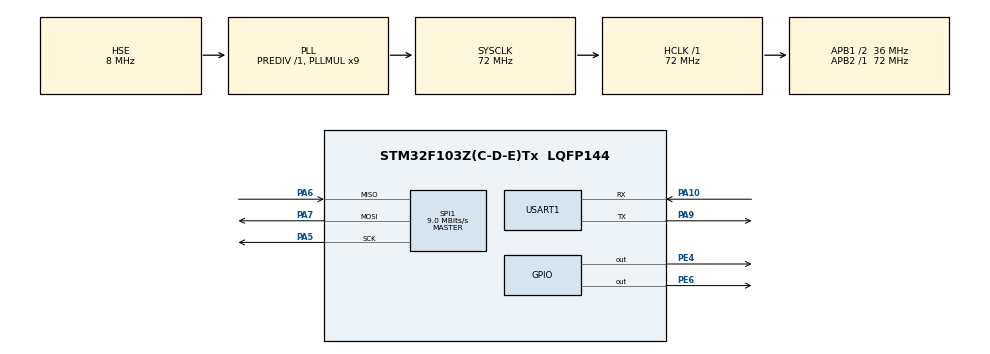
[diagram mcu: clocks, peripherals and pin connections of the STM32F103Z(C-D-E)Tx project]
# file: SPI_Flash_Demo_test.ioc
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Mcu.Family=STM32F1
Mcu.Name=STM32F103Z(C-D-E)Tx
Mcu.Package=LQFP144
NVIC.PriorityGroup=NVIC_PRIORITYGROUP_4
OSC_IN.Mode=HSE-External-Oscillator
OSC_IN.Signal=RCC_OSC_IN
OSC_OUT.Mode=HSE-External-Oscillator
OSC_OUT.Signal=RCC_OSC_OUT
PA10.Mode=Asynchronous
PA10.Signal=USART1_RX
PA13.Mode=Serial_Wire
PA13.Signal=SYS_JTMS-SWDIO
PA14.Mode=Serial_Wire
PA14.Signal=SYS_JTCK-SWCLK
PA5.Mode=Full_Duplex_Master
PA5.Signal=SPI1_SCK
PA6.Mode=Full_Duplex_Master
PA6.Signal=SPI1_MISO
PA7.Mode=Full_Duplex_Master
PA7.Signal=SPI1_MOSI
PA9.Mode=Asynchronous
PA9.Signal=USART1_TX
PE4.GPIO_ModeDefaultOutputPP=GPIO_MODE_OUTPUT_PP
PE4.PinState=GPIO_PIN_SET
PE4.Signal=GPIO_Output
PE6.PinState=GPIO_PIN_SET
PE6.Signal=GPIO_Output
ProjectManager.HeapSize=0x200
ProjectManager.StackSize=0x400
ProjectManager.TargetToolchain=MDK-ARM V5.32
RCC.AHBFreq_Value=72000000
RCC.APB1CLKDivider=RCC_HCLK_DIV2
RCC.APB1Freq_Value=36000000
RCC.APB1TimFreq_Value=72000000
RCC.APB2Freq_Value=72000000
RCC.APB2TimFreq_Value=72000000
RCC.HCLKFreq_Value=72000000
RCC.PLLMUL=RCC_PLL_MUL9
RCC.PLLSourceVirtual=RCC_PLLSOURCE_HSE
RCC.SYSCLKFreq_VALUE=72000000
RCC.SYSCLKSource=RCC_SYSCLKSOURCE_PLLCLK
RCC.USBFreq_Value=72000000
SPI1.BaudRatePrescaler=SPI_BAUDRATEPRESCALER_8
SPI1.CLKPhase=SPI_PHASE_1EDGE
SPI1.CalculateBaudRate=9.0 MBits/s
SPI1.DataSize=SPI_DATASIZE_8BIT
SPI1.Direction=SPI_DIRECTION_2LINES
SPI1.FirstBit=SPI_FIRSTBIT_MSB
SPI1.Mode=SPI_MODE_MASTER
SPI1.VirtualType=VM_MASTER
USART1.Parity=PARITY_ODD
USART1.VirtualMode=VM_ASYNC
USART1.WordLength=WORDLENGTH_9B
board=custom

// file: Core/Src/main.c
/* USER CODE BEGIN Header */
/**
 ******************************************************************************
 * @file           : main.c
 * @brief          : Main program body
 ******************************************************************************
 * @attention
 *
 * Copyright (c) 2026 STMicroelectronics.
 * All rights reserved.
 *
 * This software is licensed under terms that can be found in the LICENSE file
 * in the root directory of this software component.
 * If no LICENSE file comes with this software, it is provided AS-IS.
 *
 ******************************************************************************
 */
/* USER CODE END Header */
#include "main.h"

/* USER CODE BEGIN Includes */
#include "BSP_Usart_Redir.h"
/* USER CODE END Includes */

SPI_HandleTypeDef hspi1;

UART_HandleTypeDef huart1;

void SystemClock_Config(void);
static void MX_GPIO_Init(void);
static void MX_SPI1_Init(void);
static void MX_USART1_UART_Init(void);
/* USER CODE BEGIN PFP */
void W25Qxx_CS_Enable(void);
void W25Qxx_CS_Disable(void);
uint32_t W25Qxx_ReadID(void);
/* USER CODE END PFP */

int main(void)
{

  /* MCU Configuration--------------------------------------------------------*/

  /* Reset of all peripherals, Initializes the Flash interface and the Systick. */
  HAL_Init();

  /* Configure the system clock */
  SystemClock_Config();

  /* Initialize all configured peripherals */
  MX_GPIO_Init();
  MX_SPI1_Init();
  MX_USART1_UART_Init();
  /* USER CODE BEGIN 2 */
  BSP_Usart_Init(&huart1);

  uint32_t id = W25Qxx_ReadID();
  printf("ID: 0x%x\n", id);
  /* USER CODE END 2 */

  /* Infinite loop */
  while (1)
  {

  }
}

void SystemClock_Config(void)
{
  RCC_OscInitTypeDef RCC_OscInitStruct = {0};
  RCC_ClkInitTypeDef RCC_ClkInitStruct = {0};

  /** Initializes the RCC Oscillators according to the specified parameters
  * in the RCC_OscInitTypeDef structure.
  */
  RCC_OscInitStruct.OscillatorType = RCC_OSCILLATORTYPE_HSE;
  RCC_OscInitStruct.HSEState = RCC_HSE_ON;
  RCC_OscInitStruct.HSEPredivValue = RCC_HSE_PREDIV_DIV1;
  RCC_OscInitStruct.HSIState = RCC_HSI_ON;
  RCC_OscInitStruct.PLL.PLLState = RCC_PLL_ON;
  RCC_OscInitStruct.PLL.PLLSource = RCC_PLLSOURCE_HSE;
  RCC_OscInitStruct.PLL.PLLMUL = RCC_PLL_MUL9;
  if (HAL_RCC_OscConfig(&RCC_OscInitStruct) != HAL_OK)
  {
    Error_Handler();
  }

  /** Initializes the CPU, AHB and APB buses clocks
  */
  RCC_ClkInitStruct.ClockType = RCC_CLOCKTYPE_HCLK|RCC_CLOCKTYPE_SYSCLK
                              |RCC_CLOCKTYPE_PCLK1|RCC_CLOCKTYPE_PCLK2;
  RCC_ClkInitStruct.SYSCLKSource = RCC_SYSCLKSOURCE_PLLCLK;
  RCC_ClkInitStruct.AHBCLKDivider = RCC_SYSCLK_DIV1;
  RCC_ClkInitStruct.APB1CLKDivider = RCC_HCLK_DIV2;
  RCC_ClkInitStruct.APB2CLKDivider = RCC_HCLK_DIV1;

  if (HAL_RCC_ClockConfig(&RCC_ClkInitStruct, FLASH_LATENCY_2) != HAL_OK)
  {
    Error_Handler();
  }
}

static void MX_SPI1_Init(void)
{

  /* SPI1 parameter configuration*/
  hspi1.Instance = SPI1;
  hspi1.Init.Mode = SPI_MODE_MASTER;
  hspi1.Init.Direction = SPI_DIRECTION_2LINES;
  hspi1.Init.DataSize = SPI_DATASIZE_8BIT;
  hspi1.Init.CLKPolarity = SPI_POLARITY_LOW;
  hspi1.Init.CLKPhase = SPI_PHASE_1EDGE;
  hspi1.Init.NSS = SPI_NSS_SOFT;
  hspi1.Init.BaudRatePrescaler = SPI_BAUDRATEPRESCALER_8;
  hspi1.Init.FirstBit = SPI_FIRSTBIT_MSB;
  hspi1.Init.TIMode = SPI_TIMODE_DISABLE;
  hspi1.Init.CRCCalculation = SPI_CRCCALCULATION_DISABLE;
  hspi1.Init.CRCPolynomial = 10;
  if (HAL_SPI_Init(&hspi1) != HAL_OK)
  {
    Error_Handler();
  }

}

static void MX_USART1_UART_Init(void)
{

  huart1.Instance = USART1;
  huart1.Init.BaudRate = 115200;
  huart1.Init.WordLength = UART_WORDLENGTH_9B;
  huart1.Init.StopBits = UART_STOPBITS_1;
  huart1.Init.Parity = UART_PARITY_ODD;
  huart1.Init.Mode = UART_MODE_TX_RX;
  huart1.Init.HwFlowCtl = UART_HWCONTROL_NONE;
  huart1.Init.OverSampling = UART_OVERSAMPLING_16;
  if (HAL_UART_Init(&huart1) != HAL_OK)
  {
    Error_Handler();
  }

}

static void MX_GPIO_Init(void)
{
  GPIO_InitTypeDef GPIO_InitStruct = {0};

  /* GPIO Ports Clock Enable */
  __HAL_RCC_GPIOE_CLK_ENABLE();
  __HAL_RCC_GPIOA_CLK_ENABLE();

  /*Configure GPIO pin Output Level */
  HAL_GPIO_WritePin(GPIOE, GPIO_PIN_4|GPIO_PIN_6, GPIO_PIN_SET);

  /*Configure GPIO pins : PE4 PE6 */
  GPIO_InitStruct.Pin = GPIO_PIN_4|GPIO_PIN_6;
  GPIO_InitStruct.Mode = GPIO_MODE_OUTPUT_PP;
  GPIO_InitStruct.Pull = GPIO_NOPULL;
  GPIO_InitStruct.Speed = GPIO_SPEED_FREQ_LOW;
  HAL_GPIO_Init(GPIOE, &GPIO_InitStruct);

}

/* USER CODE BEGIN 4 */

void W25Qxx_CS_Enable(void)
{
  HAL_GPIO_WritePin(GPIOE, GPIO_PIN_6, GPIO_PIN_RESET); // 拉低进行片选
}
void W25Qxx_CS_Disable(void)
{
  HAL_GPIO_WritePin(GPIOE, GPIO_PIN_6, GPIO_PIN_SET); // 拉高取消片选
}

// version1
uint32_t W25Qxx_ReadID_version1(void)
{
  uint8_t cmd = 0x9F;
  uint8_t tx_buffer[4] = {cmd, 0x00, 0x00, 0x00};
  uint8_t rx_buffer[4] = {0x00, 0x00, 0x00, 0x00};
  uint16_t num = sizeof(tx_buffer) / sizeof(tx_buffer[0]);
  HAL_StatusTypeDef state = HAL_OK;
  uint32_t id = 0;

  W25Qxx_CS_Enable(); // 先片选, 软件片选

  state = HAL_SPI_TransmitReceive(&hspi1, tx_buffer, rx_buffer, num, HAL_MAX_DELAY);
  if (state != HAL_OK)
  {
    printf(">>> HAL_SPI_TransmitReceive error!\n");
    goto EXIT;
  }
  id = ((rx_buffer[1] << 16) | (rx_buffer[2] << 8) | (rx_buffer[3]));

EXIT:
  W25Qxx_CS_Disable(); // 拉高取消片选
  return id;
}

// version2
uint32_t W25Qxx_ReadID(void)
{
  uint8_t cmd = 0x9F;
  uint8_t id[3] = {0};
  HAL_StatusTypeDef state = HAL_OK;

  W25Qxx_CS_Enable();
  state = HAL_SPI_Transmit(&hspi1, &cmd, 1, HAL_MAX_DELAY);
  if (state != HAL_OK)
  {
    printf(">>> HAL_SPI_Transmit error!\n");
    goto EXIT;
  }
  state = HAL_SPI_Receive(&hspi1, id, 3, HAL_MAX_DELAY);
  if (state != HAL_OK)
  {
    printf(">>> HAL_SPI_Receive error!\n");
    goto EXIT;
  }
EXIT:
  W25Qxx_CS_Disable();

  return ((id[0] << 16) | (id[1] << 8) | id[2]);
}

/* USER CODE END 4 */

void Error_Handler(void)
{
  __disable_irq();
  while (1)
  {
  }
}
